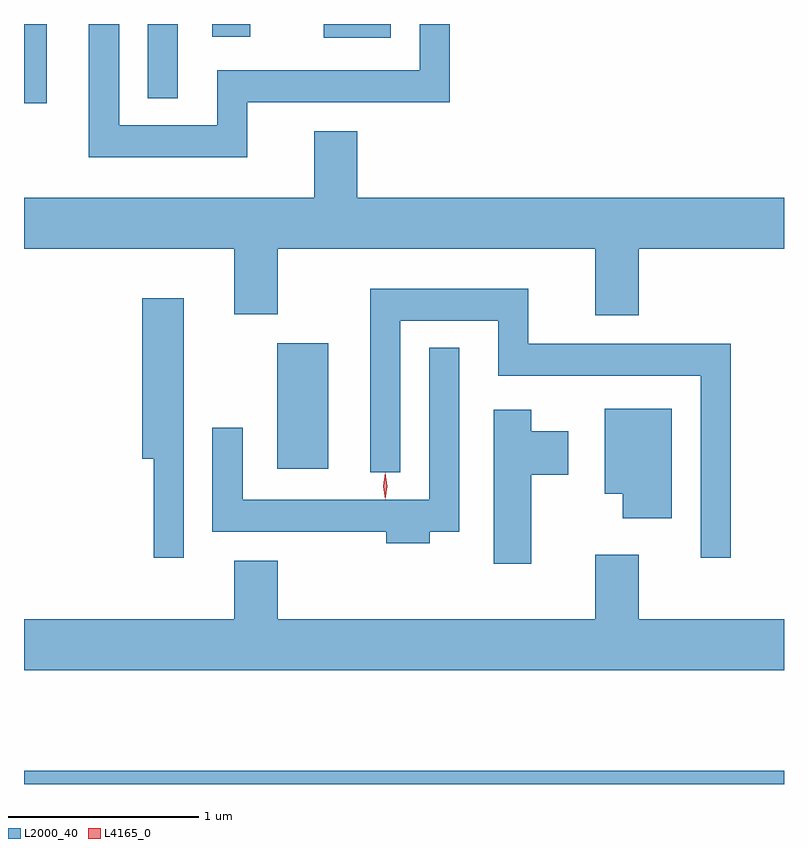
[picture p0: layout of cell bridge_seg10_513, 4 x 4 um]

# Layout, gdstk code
import gdstk
lib = gdstk.Library(unit=1e-6, precision=1e-09)
def R(c, l, rs):  # rectangles x0, y0, x1, y1
    for r in rs: c.add(gdstk.rectangle(r[:2], r[2:], *l))
def P(c, l, *ps):  # polygons
    for p in ps: c.add(gdstk.Polygon(p, *l))
L2000_40 = (2000, 40)
L4165_0 = (4165, 0)

bridge_seg10_513 = lib.new_cell('bridge_seg10_513')
R(bridge_seg10_513, L2000_40, [(769.304,2164.378,773.304,2164.449), (770.636,2166.036,770.904,2166.699), (769.304,2167.961,769.424,2168.378), (769.956,2167.988,770.114,2168.378), (770.881,2168.306,771.234,2168.378), (770.296,2168.311,770.494,2168.378)])
P(bridge_seg10_513, L2000_40, [(770.479,2167.966),(771.544,2167.966),(771.544,2168.378),(771.386,2168.378),(771.386,2168.134),(770.321,2168.134),(770.321,2167.844),(769.804,2167.844),(769.804,2168.378),(769.646,2168.378),(769.646,2167.676),(770.479,2167.676)],
  [(772.539,2167.196),(773.304,2167.196),(773.304,2167.464),(771.059,2167.464),(771.059,2167.814),(770.831,2167.814),(770.831,2167.464),(769.304,2167.464),(769.304,2167.196),(770.411,2167.196),(770.411,2166.851),(770.639,2166.851),(770.639,2167.196),(772.311,2167.196),(772.311,2166.846),(772.539,2166.846)],
  [(773.024,2166.694),(771.959,2166.694),(771.959,2166.984),(771.126,2166.984),(771.126,2166.018),(771.284,2166.018),(771.284,2166.816),(771.801,2166.816),(771.801,2166.526),(772.866,2166.526),(772.866,2165.568),(773.024,2165.568)],
  [(770.144,2166.934),(769.926,2166.934),(769.926,2166.091),(769.986,2166.091),(769.986,2165.568),(770.144,2165.568)],
  [(771.439,2165.706),(771.594,2165.706),(771.594,2166.673),(771.436,2166.673),(771.436,2165.874),(770.454,2165.874),(770.454,2166.253),(770.296,2166.253),(770.296,2165.706),(771.211,2165.706),(771.211,2165.646),(771.439,2165.646)],
  [(772.714,2166.354),(772.361,2166.354),(772.361,2165.906),(772.456,2165.906),(772.456,2165.776),(772.714,2165.776)],
  [(771.974,2166.006),(772.169,2166.006),(772.169,2166.234),(771.974,2166.234),(771.974,2166.349),(771.776,2166.349),(771.776,2165.536),(771.974,2165.536)],
  [(773.304,2165.244),(772.539,2165.244),(772.539,2165.584),(772.311,2165.584),(772.311,2165.244),(770.639,2165.244),(770.639,2165.554),(770.411,2165.554),(770.411,2165.244),(769.304,2165.244),(769.304,2164.976),(773.304,2164.976)])
P(bridge_seg10_513, L4165_0, [(771.204,2165.877),(771.195,2165.946),(771.204,2166.016),(771.205,2166.016),(771.205,2166.016),(771.215,2165.946),(771.205,2165.877),(771.205,2165.877)],
  [(771.204,2165.879),(771.204,2165.88),(771.194,2165.946),(771.204,2166.012),(771.204,2166.013),(771.205,2166.012),(771.214,2165.946),(771.205,2165.88)])

lib.write_gds('bridge_seg10_513.gds')
